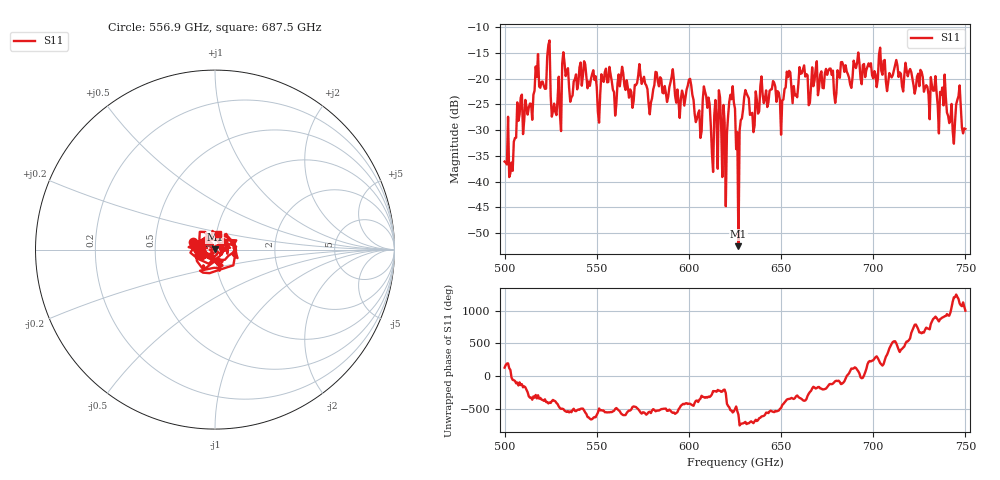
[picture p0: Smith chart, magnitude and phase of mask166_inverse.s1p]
!Created with skrf (http://scikit-rf.org).
# GHz S MA R 50.0
!freq magS11 angS11
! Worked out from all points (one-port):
!   401 points, 500 GHz to 750 GHz, reference 50 ohm
!   lowest |S11| = -52.5 dB at 626.9 GHz (marker M1), VSWR 1.00, Z = 49.9 + j0.193 ohm
!   |S11| at or under -10 dB: start of sweep to end of sweep
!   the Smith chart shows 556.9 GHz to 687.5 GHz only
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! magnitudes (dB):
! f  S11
! 500 GHz  -36.1
! 503.8 GHz  -36.3
! 508.1 GHz  -27.0
! 513.8 GHz  -24.8
! 517.5 GHz  -19.7
! 523.8 GHz  -13.5
! 526.9 GHz  -24.9
! 531.2 GHz  -17.1
! 562.5 GHz  -21.5
! 593.8 GHz  -22.1
! 600.6 GHz  -20.0
! 605.6 GHz  -26.2
! 609.4 GHz  -23.4
! 612.5 GHz  -34.5
! 617.5 GHz  -29.4
! 619.4 GHz  -28.5
! 622.5 GHz  -23.1
! 625 GHz  -25.9
! 626.9 GHz  -52.5
! 631.2 GHz  -22.9
! 634.4 GHz  -26.6
! 656.2 GHz  -24.8
! 687.5 GHz  -21.1
! 718.8 GHz  -19.6
! 738.1 GHz  -25.2
! 742.5 GHz  -24.9
! 746.2 GHz  -23.4
! 750 GHz  -29.8
